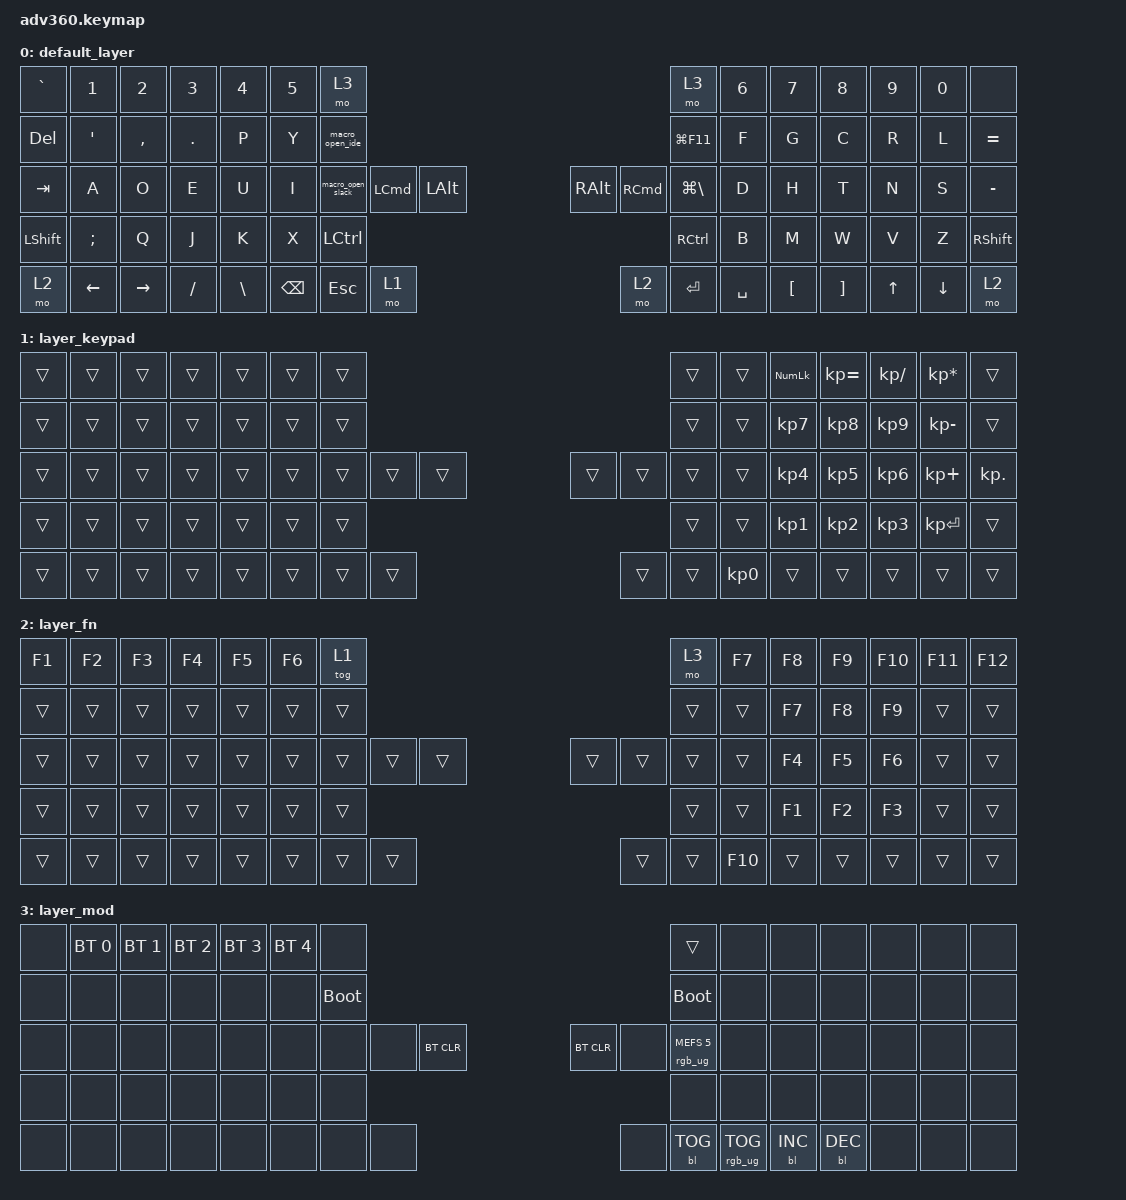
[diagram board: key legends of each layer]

/*
 * Copyright (c) 2020 The ZMK Contributors
 *
 * SPDX-License-Identifier: MIT
 */


/* THIS FILE WAS GENERATED!
 *
 * This file was generated automatically. You may or may not want to
 * edit it directly.
 */

#include <behaviors.dtsi>
#include <dt-bindings/zmk/keys.h>
#include <dt-bindings/zmk/bt.h>
#include <dt-bindings/zmk/rgb.h>
#include <dt-bindings/zmk/backlight.h>

/ {
  behaviors {
    #include "macros.dtsi"
    #include "version.dtsi"

    hm: homerow_mods {
        compatible = "zmk,behavior-hold-tap";
        label = "HOMEROW_MODS";
        #binding-cells = <2>;
        tapping-term-ms = <200>;
        quick_tap_ms = <175>;
        flavor = "tap-preferred";
        bindings = <&kp>, <&kp>;
    };
  };

    keymap {
        compatible = "zmk,keymap";


        default_layer {
            bindings = <
  &kp GRAVE            &kp N1     &kp N2     &kp N3         &kp N4  &kp N5                        &mo 3                                                                                                        &mo 3  &kp N6    &kp N7    &kp N8  &kp N9    &kp N0      &none
 &kp DELETE  &kp SINGLE_QUOTE  &kp COMMA    &kp DOT          &kp P   &kp Y              &macro_open_ide                                                                                                  &kp LG(F11)   &kp F     &kp G     &kp C   &kp R     &kp L  &kp EQUAL
    &kp TAB             &kp A      &kp O      &kp E          &kp U   &kp I            &macro_open_slack  &kp LEFT_COMMAND          &kp LALT                      &kp RIGHT_ALT  &kp RIGHT_COMMAND  &kp LG(BACKSLASH)   &kp D     &kp H     &kp T   &kp N     &kp S  &kp MINUS
  &kp LSHFT          &kp SEMI      &kp Q      &kp J          &kp K   &kp X                                                 &kp LEFT_CONTROL                  &kp RIGHT_CONTROL                                         &kp B     &kp M     &kp W   &kp V     &kp Z  &kp RSHFT
      &mo 2          &kp LEFT  &kp RIGHT  &kp SLASH  &kp BACKSLASH                             &kp BSPC           &kp ESC             &mo 1                              &mo 2          &kp ENTER          &kp SPACE          &kp LBKT  &kp RBKT  &kp UP  &kp DOWN      &mo 2
            >;
        };

        layer_keypad {
            bindings = <
 &trans  &trans  &trans  &trans  &trans  &trans            &trans                                                     &trans  &trans  &kp KP_NUM  &kp KP_EQUAL  &kp KP_DIVIDE  &kp KP_MULTIPLY      &trans
 &trans  &trans  &trans  &trans  &trans  &trans            &trans                                                     &trans  &trans   &kp KP_N7     &kp KP_N8      &kp KP_N9     &kp KP_MINUS      &trans
 &trans  &trans  &trans  &trans  &trans  &trans            &trans  &trans  &trans                  &trans  &trans     &trans  &trans   &kp KP_N4     &kp KP_N5      &kp KP_N6      &kp KP_PLUS  &kp KP_DOT
 &trans  &trans  &trans  &trans  &trans  &trans                            &trans                  &trans                     &trans   &kp KP_N1     &kp KP_N2      &kp KP_N3     &kp KP_ENTER      &trans
 &trans  &trans  &trans  &trans  &trans                    &trans  &trans  &trans                  &trans  &trans  &kp KP_N0              &trans        &trans         &trans           &trans      &trans
            >;
        };

        layer_fn {
            bindings = <
 &kp F1  &kp F2  &kp F3  &kp F4  &kp F5  &kp F6            &tog 1                                                    &mo 3  &kp F7  &kp F8  &kp F9  &kp F10  &kp F11  &kp F12
 &trans  &trans  &trans  &trans  &trans  &trans            &trans                                                   &trans  &trans  &kp F7  &kp F8   &kp F9   &trans   &trans
 &trans  &trans  &trans  &trans  &trans  &trans            &trans  &trans  &trans                  &trans  &trans   &trans  &trans  &kp F4  &kp F5   &kp F6   &trans   &trans
 &trans  &trans  &trans  &trans  &trans  &trans                            &trans                  &trans                   &trans  &kp F1  &kp F2   &kp F3   &trans   &trans
 &trans  &trans  &trans  &trans  &trans                    &trans  &trans  &trans                  &trans  &trans  &kp F10          &trans  &trans   &trans   &trans   &trans
            >;
        };

        layer_mod {
            bindings = <
  &none  &bt BT_SEL 0  &bt BT_SEL 1  &bt BT_SEL 2  &bt BT_SEL 3  &bt BT_SEL 4                  &none                                                                              &trans   &none       &none       &none   &none   &none   &none
  &none         &none         &none         &none         &none         &none            &bootloader                                                                         &bootloader   &none       &none       &none   &none   &none   &none
  &none         &none         &none         &none         &none         &none                  &none   &none  &bt BT_CLR                  &bt BT_CLR       &none  &rgb_ug RGB_MEFS_CMD 5   &none       &none       &none   &none   &none   &none
  &none         &none         &none         &none         &none         &none                                      &none                       &none                                       &none       &none       &none   &none   &none   &none
  &none         &none         &none         &none         &none                                &none   &none       &none                       &none  &bl BL_TOG         &rgb_ug RGB_TOG          &bl BL_INC  &bl BL_DEC   &none   &none   &none
            >;
        };

    };
};
